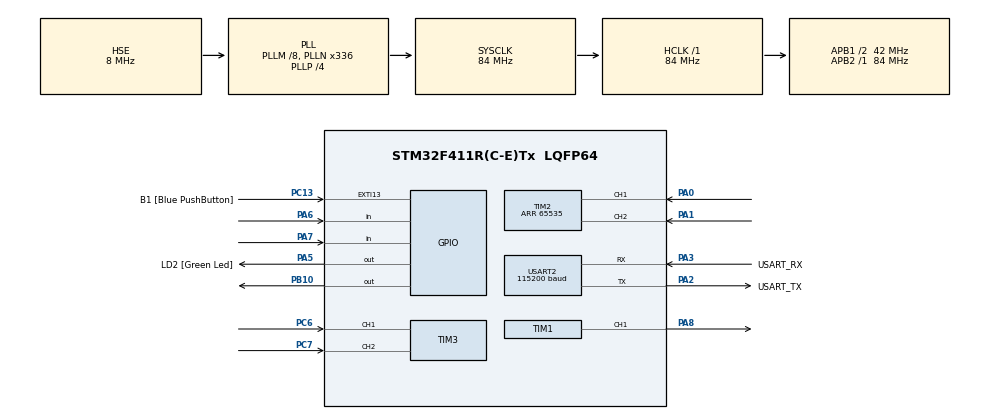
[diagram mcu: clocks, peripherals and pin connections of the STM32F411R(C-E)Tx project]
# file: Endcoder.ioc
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Dma.Request0=TIM1_CH1
Dma.TIM1_CH1.0.Direction=DMA_MEMORY_TO_PERIPH
Dma.TIM1_CH1.0.FIFOMode=DMA_FIFOMODE_DISABLE
Dma.TIM1_CH1.0.Instance=DMA2_Stream1
Dma.TIM1_CH1.0.MemDataAlignment=DMA_MDATAALIGN_HALFWORD
Dma.TIM1_CH1.0.MemInc=DMA_MINC_ENABLE
Dma.TIM1_CH1.0.Mode=DMA_NORMAL
Dma.TIM1_CH1.0.PeriphDataAlignment=DMA_PDATAALIGN_HALFWORD
Dma.TIM1_CH1.0.PeriphInc=DMA_PINC_DISABLE
Dma.TIM1_CH1.0.Priority=DMA_PRIORITY_LOW
Mcu.Family=STM32F4
Mcu.Name=STM32F411R(C-E)Tx
Mcu.Package=LQFP64
NVIC.DMA2_Stream1_IRQn=true\:0\:0\:false\:false\:true\:false\:true\:true
NVIC.PriorityGroup=NVIC_PRIORITYGROUP_0
NVIC.TIM2_IRQn=true\:0\:0\:false\:false\:true\:true\:true\:true
PA0-WKUP.GPIO_PuPd=GPIO_PULLUP
PA0-WKUP.Signal=S_TIM2_CH1_ETR
PA1.GPIO_PuPd=GPIO_PULLUP
PA1.Signal=S_TIM2_CH2
PA13.GPIO_Label=TMS
PA13.Mode=Serial_Wire
PA13.Signal=SYS_JTMS-SWDIO
PA14.GPIO_Label=TCK
PA14.Mode=Serial_Wire
PA14.Signal=SYS_JTCK-SWCLK
PA2.GPIO_Label=USART_TX
PA2.Mode=Asynchronous
PA2.Signal=USART2_TX
PA3.GPIO_Label=USART_RX
PA3.Mode=Asynchronous
PA3.Signal=USART2_RX
PA5.GPIO_Label=LD2 [Green Led]
PA5.Signal=GPIO_Output
PA6.GPIO_PuPd=GPIO_PULLUP
PA6.Signal=GPIO_Input
PA7.GPIO_PuPd=GPIO_PULLUP
PA7.Signal=GPIO_Input
PA8.Signal=S_TIM1_CH1
PB10.Signal=GPIO_Output
PB3.Signal=SYS_JTDO-SWO
PC13-ANTI_TAMP.GPIO_Label=B1 [Blue PushButton]
PC13-ANTI_TAMP.GPIO_ModeDefaultEXTI=GPIO_MODE_IT_FALLING
PC13-ANTI_TAMP.Signal=GPXTI13
PC14-OSC32_IN.Mode=LSE-External-Oscillator
PC14-OSC32_IN.Signal=RCC_OSC32_IN
PC15-OSC32_OUT.Mode=LSE-External-Oscillator
PC15-OSC32_OUT.Signal=RCC_OSC32_OUT
PC6.Signal=S_TIM3_CH1
PC7.Signal=S_TIM3_CH2
PH0\ -\ OSC_IN.Mode=HSE-External-Oscillator
PH0\ -\ OSC_IN.Signal=RCC_OSC_IN
PH1\ -\ OSC_OUT.Mode=HSE-External-Oscillator
PH1\ -\ OSC_OUT.Signal=RCC_OSC_OUT
ProjectManager.HeapSize=0x200
ProjectManager.StackSize=0x400
ProjectManager.TargetToolchain=STM32CubeIDE
RCC.48MHZClocksFreq_Value=84000000
RCC.AHBFreq_Value=84000000
RCC.APB1CLKDivider=RCC_HCLK_DIV2
RCC.APB1Freq_Value=42000000
RCC.APB1TimFreq_Value=84000000
RCC.APB2Freq_Value=84000000
RCC.APB2TimFreq_Value=84000000
RCC.CortexFreq_Value=84000000
RCC.FLatency-AdvancedSettings=FLASH_LATENCY_2
RCC.HCLKFreq_Value=84000000
RCC.HSE_VALUE=8000000
RCC.HSI_VALUE=16000000
RCC.PLLM=8
RCC.PLLN=336
RCC.PLLP=RCC_PLLP_DIV4
RCC.PLLSourceVirtual=RCC_PLLSOURCE_HSE
RCC.SYSCLKFreq_VALUE=84000000
RCC.SYSCLKSource=RCC_SYSCLKSOURCE_PLLCLK
RCC.VCOOutputFreq_Value=336000000
SH.S_TIM1_CH1.0=TIM1_CH1,PWM Generation1 CH1
SH.S_TIM2_CH1_ETR.0=TIM2_CH1,Encoder_Interface
SH.S_TIM2_CH2.0=TIM2_CH2,Encoder_Interface
SH.S_TIM3_CH1.0=TIM3_CH1,Encoder_Interface
SH.S_TIM3_CH2.0=TIM3_CH2,Encoder_Interface
TIM1.Channel-PWM\ Generation1\ CH1=TIM_CHANNEL_1
TIM1.Period=65535
TIM1.Prescaler=0
TIM2.EncoderMode=TIM_ENCODERMODE_TI12
TIM2.IC1Polarity=TIM_ICPOLARITY_FALLING
TIM2.IC2Polarity=TIM_ICPOLARITY_FALLING
TIM2.Period=65535
USART2.BaudRate=115200
USART2.VirtualMode=VM_ASYNC
VP_TIM1_VS_ClockSourceINT.Mode=Internal
board=NUCLEO-F411RE

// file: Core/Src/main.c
/* USER CODE BEGIN Header */
/**
  ******************************************************************************
  * @file           : main.c
  * @brief          : Main program body
  ******************************************************************************
  * @attention
  *
  * Copyright (c) 2023 STMicroelectronics.
  * All rights reserved.
  *
  * This software is licensed under terms that can be found in the LICENSE file
  * in the root directory of this software component.
  * If no LICENSE file comes with this software, it is provided AS-IS.
  *
  ******************************************************************************
  */
/* USER CODE END Header */
#include "main.h"

/* USER CODE BEGIN Includes */
#include "string.h"
#include "stdio.h"
#include "math.h"
/* USER CODE END Includes */

TIM_HandleTypeDef htim1;
TIM_HandleTypeDef htim2;
TIM_HandleTypeDef htim3;
DMA_HandleTypeDef hdma_tim1_ch1;

UART_HandleTypeDef huart2;

/* USER CODE BEGIN PV */

struct encoder
{
	int A_current;
	int A_last;
	int B_current;
	int B_last;
};

struct encoder AB;

uint16_t dt = 100;
uint16_t pos=0;

float target = 0;
int16_t e = 0;
int16_t e_prev = 0;
int16_t e_integral =0;
int16_t e_diff = 0;

int32_t PWM_raw = 0;
int32_t PWM = 0;
uint8_t dir = 0;

uint16_t Kp = 3000;
uint16_t Ki = 0;
uint16_t Kd = 0;

uint16_t timestamp = 0;

/* USER CODE END PV */

void SystemClock_Config(void);
static void MX_GPIO_Init(void);
static void MX_DMA_Init(void);
static void MX_USART2_UART_Init(void);
static void MX_TIM1_Init(void);
static void MX_TIM2_Init(void);
static void MX_TIM3_Init(void);
/* USER CODE BEGIN PFP */
void PID();
void Motor();
/* USER CODE END PFP */

/* USER CODE BEGIN 0 */

uint32_t counter = 0;
int16_t count = 0;

int16_t position = 0;

int speed = 0;
void HAL_TIM_IC_CaptureCallback(TIM_HandleTypeDef *htim)
{
	counter = __HAL_TIM_GET_COUNTER(htim);

	count = (int16_t)counter;

	position = count/4;
}

//uint16_t pwmData[10];
//uint32_t ICValue = 0;
//uint32_t Frequency = 0;
//float Duty = 0;

//void HAL_TIM_IC_CaptureCallback(TIM_HandleTypeDef *htim){
//	if (htim -> Channel == HAL_TIM_ACTIVE_CHANNEL_1)
//	{
//		ICValue = HAL_TIM_ReadCapturedValue(htim, TIM_CHANNEL_1);
//
//		if(ICValue != 0)
//		{
//			Duty =(HAL_TIM_ReadCapturedValue(htim, TIM_CHANNEL_2)*100)/ICValue;
//
//			Frequency = 90000000/ICValue;
//		}
//	}
//}

char TxBuffer[30];

/* USER CODE END 0 */

int main(void)
{

  /* MCU Configuration--------------------------------------------------------*/

  /* Reset of all peripherals, Initializes the Flash interface and the Systick. */
  HAL_Init();

  /* Configure the system clock */
  SystemClock_Config();

  /* Initialize all configured peripherals */
  MX_GPIO_Init();
  MX_DMA_Init();
  MX_USART2_UART_Init();
  MX_TIM1_Init();
  MX_TIM2_Init();
  MX_TIM3_Init();
  /* USER CODE BEGIN 2 */

  HAL_TIM_Encoder_Start_IT(&htim2, TIM_CHANNEL_ALL);

//  HAL_TIM_IC_Start_IT(&htim2, TIM_CHANNEL_1);
//  HAL_TIM_IC_Start(&htim2, TIM_CHANNEL_2);
//
//  HAL_TIM_PWM_Start(&htim1, TIM_CHANNEL_1);
//  TIM1 -> CCR1 = 225;

  TIM1 ->CCR1 = 0;
  HAL_TIM_PWM_Start(&htim1, TIM_CHANNEL_1);

  HAL_Delay(5000);
//
//  pwmData[0] = 10;
//  pwmData[1] = 20;
//  pwmData[2] = 30;
//  pwmData[3] = 40;
//  pwmData[4] = 50;
//  pwmData[5] = 60;
//  pwmData[6] = 70;
//  pwmData[7] = 80;
//  pwmData[8] = 90;
//  pwmData[9] = 100;
//
//  HAL_TIM_PWM_Start_DMA(&htim1, TIM_CHANNEL_1, (uint32_t *)pwmData, 10);
  /* USER CODE END 2 */

  /* Infinite loop */
  while (1)
  {

    /* USER CODE BEGIN 3 */
//	  htim1.Instance -> CCR1 = 10;
//	  HAL_Delay(1000);
//
//	  htim1.Instance -> CCR1 = 60;
//	  HAL_Delay(1000);

	  if(HAL_GetTick() > timestamp)
	  {
		  timestamp += 12.5;
		  target = 120*sin(0.3 * M_PI*	timestamp / 1000.0)+120;
	  }

//	  PID();
//	  Motor();

	  sprintf(TxBuffer,"%d\r %d\r %f\r\n",0, position, target);
	  HAL_UART_Transmit(&huart2, (uint8_t *) TxBuffer, 30, HAL_MAX_DELAY);

	  //Read phase A and B

//	  AB.A_current = HAL_GPIO_ReadPin(GPIOA, GPIO_PIN_6);
//	  AB.B_current = HAL_GPIO_ReadPin(GPIOA, GPIO_PIN_7);
//
//	  if (AB.A_current == 1 && AB.A_last ==0 )
//	  {
//		  if(AB.B_current == 1)
//		  {
//			  pos++;
//		  }
//		  else pos--;
//	  }
//	  AB.A_last = AB.A_current;

	  //Read phase A and B 2

//	  if (HAL_GPIO_ReadPin(GPIOA, GPIO_PIN_6) == GPIO_PIN_RESET)
//	  {
//		  if(HAL_GPIO_ReadPin(GPIOA, GPIO_PIN_7) == GPIO_PIN_RESET)
//		  {
//			  while (HAL_GPIO_ReadPin(GPIOA, GPIO_PIN_7) == GPIO_PIN_RESET){};
//			  pos++;
//			  while(HAL_GPIO_ReadPin(GPIOA, GPIO_PIN_6) == GPIO_PIN_RESET){};
//			  HAL_Delay(10);
//		  }
//
//		  if(HAL_GPIO_ReadPin(GPIOA, GPIO_PIN_7) == GPIO_PIN_SET)
//		  {
//			  while (HAL_GPIO_ReadPin(GPIOA, GPIO_PIN_7) == GPIO_PIN_SET){};
//			  pos--;
//			  while(HAL_GPIO_ReadPin(GPIOA, GPIO_PIN_6) == GPIO_PIN_RESET){};
//			  while(HAL_GPIO_ReadPin(GPIOA, GPIO_PIN_7) == GPIO_PIN_RESET){};
//			  HAL_Delay(10);
//		  }
//
//	  }

  }
  /* USER CODE END 3 */
}

void SystemClock_Config(void)
{
  RCC_OscInitTypeDef RCC_OscInitStruct = {0};
  RCC_ClkInitTypeDef RCC_ClkInitStruct = {0};

  /** Configure the main internal regulator output voltage
  */
  __HAL_RCC_PWR_CLK_ENABLE();
  __HAL_PWR_VOLTAGESCALING_CONFIG(PWR_REGULATOR_VOLTAGE_SCALE1);

  /** Initializes the RCC Oscillators according to the specified parameters
  * in the RCC_OscInitTypeDef structure.
  */
  RCC_OscInitStruct.OscillatorType = RCC_OSCILLATORTYPE_HSE;
  RCC_OscInitStruct.HSEState = RCC_HSE_ON;
  RCC_OscInitStruct.PLL.PLLState = RCC_PLL_ON;
  RCC_OscInitStruct.PLL.PLLSource = RCC_PLLSOURCE_HSE;
  RCC_OscInitStruct.PLL.PLLM = 8;
  RCC_OscInitStruct.PLL.PLLN = 336;
  RCC_OscInitStruct.PLL.PLLP = RCC_PLLP_DIV4;
  RCC_OscInitStruct.PLL.PLLQ = 4;
  if (HAL_RCC_OscConfig(&RCC_OscInitStruct) != HAL_OK)
  {
    Error_Handler();
  }

  /** Initializes the CPU, AHB and APB buses clocks
  */
  RCC_ClkInitStruct.ClockType = RCC_CLOCKTYPE_HCLK|RCC_CLOCKTYPE_SYSCLK
                              |RCC_CLOCKTYPE_PCLK1|RCC_CLOCKTYPE_PCLK2;
  RCC_ClkInitStruct.SYSCLKSource = RCC_SYSCLKSOURCE_PLLCLK;
  RCC_ClkInitStruct.AHBCLKDivider = RCC_SYSCLK_DIV1;
  RCC_ClkInitStruct.APB1CLKDivider = RCC_HCLK_DIV2;
  RCC_ClkInitStruct.APB2CLKDivider = RCC_HCLK_DIV1;

  if (HAL_RCC_ClockConfig(&RCC_ClkInitStruct, FLASH_LATENCY_2) != HAL_OK)
  {
    Error_Handler();
  }
}

static void MX_TIM1_Init(void)
{

  TIM_ClockConfigTypeDef sClockSourceConfig = {0};
  TIM_MasterConfigTypeDef sMasterConfig = {0};
  TIM_OC_InitTypeDef sConfigOC = {0};
  TIM_BreakDeadTimeConfigTypeDef sBreakDeadTimeConfig = {0};

  htim1.Instance = TIM1;
  htim1.Init.Prescaler = 0;
  htim1.Init.CounterMode = TIM_COUNTERMODE_UP;
  htim1.Init.Period = 65535;
  htim1.Init.ClockDivision = TIM_CLOCKDIVISION_DIV1;
  htim1.Init.RepetitionCounter = 0;
  htim1.Init.AutoReloadPreload = TIM_AUTORELOAD_PRELOAD_DISABLE;
  if (HAL_TIM_Base_Init(&htim1) != HAL_OK)
  {
    Error_Handler();
  }
  sClockSourceConfig.ClockSource = TIM_CLOCKSOURCE_INTERNAL;
  if (HAL_TIM_ConfigClockSource(&htim1, &sClockSourceConfig) != HAL_OK)
  {
    Error_Handler();
  }
  if (HAL_TIM_PWM_Init(&htim1) != HAL_OK)
  {
    Error_Handler();
  }
  sMasterConfig.MasterOutputTrigger = TIM_TRGO_RESET;
  sMasterConfig.MasterSlaveMode = TIM_MASTERSLAVEMODE_DISABLE;
  if (HAL_TIMEx_MasterConfigSynchronization(&htim1, &sMasterConfig) != HAL_OK)
  {
    Error_Handler();
  }
  sConfigOC.OCMode = TIM_OCMODE_PWM1;
  sConfigOC.Pulse = 0;
  sConfigOC.OCPolarity = TIM_OCPOLARITY_HIGH;
  sConfigOC.OCNPolarity = TIM_OCNPOLARITY_HIGH;
  sConfigOC.OCFastMode = TIM_OCFAST_DISABLE;
  sConfigOC.OCIdleState = TIM_OCIDLESTATE_RESET;
  sConfigOC.OCNIdleState = TIM_OCNIDLESTATE_RESET;
  if (HAL_TIM_PWM_ConfigChannel(&htim1, &sConfigOC, TIM_CHANNEL_1) != HAL_OK)
  {
    Error_Handler();
  }
  sBreakDeadTimeConfig.OffStateRunMode = TIM_OSSR_DISABLE;
  sBreakDeadTimeConfig.OffStateIDLEMode = TIM_OSSI_DISABLE;
  sBreakDeadTimeConfig.LockLevel = TIM_LOCKLEVEL_OFF;
  sBreakDeadTimeConfig.DeadTime = 0;
  sBreakDeadTimeConfig.BreakState = TIM_BREAK_DISABLE;
  sBreakDeadTimeConfig.BreakPolarity = TIM_BREAKPOLARITY_HIGH;
  sBreakDeadTimeConfig.AutomaticOutput = TIM_AUTOMATICOUTPUT_DISABLE;
  if (HAL_TIMEx_ConfigBreakDeadTime(&htim1, &sBreakDeadTimeConfig) != HAL_OK)
  {
    Error_Handler();
  }
  HAL_TIM_MspPostInit(&htim1);

}

static void MX_TIM2_Init(void)
{

  TIM_Encoder_InitTypeDef sConfig = {0};
  TIM_MasterConfigTypeDef sMasterConfig = {0};

  htim2.Instance = TIM2;
  htim2.Init.Prescaler = 0;
  htim2.Init.CounterMode = TIM_COUNTERMODE_UP;
  htim2.Init.Period = 65535;
  htim2.Init.ClockDivision = TIM_CLOCKDIVISION_DIV1;
  htim2.Init.AutoReloadPreload = TIM_AUTORELOAD_PRELOAD_DISABLE;
  sConfig.EncoderMode = TIM_ENCODERMODE_TI12;
  sConfig.IC1Polarity = TIM_ICPOLARITY_FALLING;
  sConfig.IC1Selection = TIM_ICSELECTION_DIRECTTI;
  sConfig.IC1Prescaler = TIM_ICPSC_DIV1;
  sConfig.IC1Filter = 0;
  sConfig.IC2Polarity = TIM_ICPOLARITY_FALLING;
  sConfig.IC2Selection = TIM_ICSELECTION_DIRECTTI;
  sConfig.IC2Prescaler = TIM_ICPSC_DIV1;
  sConfig.IC2Filter = 0;
  if (HAL_TIM_Encoder_Init(&htim2, &sConfig) != HAL_OK)
  {
    Error_Handler();
  }
  sMasterConfig.MasterOutputTrigger = TIM_TRGO_RESET;
  sMasterConfig.MasterSlaveMode = TIM_MASTERSLAVEMODE_DISABLE;
  if (HAL_TIMEx_MasterConfigSynchronization(&htim2, &sMasterConfig) != HAL_OK)
  {
    Error_Handler();
  }

}

static void MX_TIM3_Init(void)
{

  TIM_Encoder_InitTypeDef sConfig = {0};
  TIM_MasterConfigTypeDef sMasterConfig = {0};

  htim3.Instance = TIM3;
  htim3.Init.Prescaler = 0;
  htim3.Init.CounterMode = TIM_COUNTERMODE_UP;
  htim3.Init.Period = 65535;
  htim3.Init.ClockDivision = TIM_CLOCKDIVISION_DIV1;
  htim3.Init.AutoReloadPreload = TIM_AUTORELOAD_PRELOAD_DISABLE;
  sConfig.EncoderMode = TIM_ENCODERMODE_TI1;
  sConfig.IC1Polarity = TIM_ICPOLARITY_RISING;
  sConfig.IC1Selection = TIM_ICSELECTION_DIRECTTI;
  sConfig.IC1Prescaler = TIM_ICPSC_DIV1;
  sConfig.IC1Filter = 0;
  sConfig.IC2Polarity = TIM_ICPOLARITY_RISING;
  sConfig.IC2Selection = TIM_ICSELECTION_DIRECTTI;
  sConfig.IC2Prescaler = TIM_ICPSC_DIV1;
  sConfig.IC2Filter = 0;
  if (HAL_TIM_Encoder_Init(&htim3, &sConfig) != HAL_OK)
  {
    Error_Handler();
  }
  sMasterConfig.MasterOutputTrigger = TIM_TRGO_RESET;
  sMasterConfig.MasterSlaveMode = TIM_MASTERSLAVEMODE_DISABLE;
  if (HAL_TIMEx_MasterConfigSynchronization(&htim3, &sMasterConfig) != HAL_OK)
  {
    Error_Handler();
  }

}

static void MX_USART2_UART_Init(void)
{

  huart2.Instance = USART2;
  huart2.Init.BaudRate = 115200;
  huart2.Init.WordLength = UART_WORDLENGTH_8B;
  huart2.Init.StopBits = UART_STOPBITS_1;
  huart2.Init.Parity = UART_PARITY_NONE;
  huart2.Init.Mode = UART_MODE_TX_RX;
  huart2.Init.HwFlowCtl = UART_HWCONTROL_NONE;
  huart2.Init.OverSampling = UART_OVERSAMPLING_16;
  if (HAL_UART_Init(&huart2) != HAL_OK)
  {
    Error_Handler();
  }

}

static void MX_DMA_Init(void)
{

  /* DMA controller clock enable */
  __HAL_RCC_DMA2_CLK_ENABLE();

  /* DMA interrupt init */
  /* DMA2_Stream1_IRQn interrupt configuration */
  HAL_NVIC_SetPriority(DMA2_Stream1_IRQn, 0, 0);
  HAL_NVIC_EnableIRQ(DMA2_Stream1_IRQn);

}

static void MX_GPIO_Init(void)
{
  GPIO_InitTypeDef GPIO_InitStruct = {0};

  /* GPIO Ports Clock Enable */
  __HAL_RCC_GPIOC_CLK_ENABLE();
  __HAL_RCC_GPIOH_CLK_ENABLE();
  __HAL_RCC_GPIOA_CLK_ENABLE();
  __HAL_RCC_GPIOB_CLK_ENABLE();

  /*Configure GPIO pin Output Level */
  HAL_GPIO_WritePin(LD2_GPIO_Port, LD2_Pin, GPIO_PIN_RESET);

  /*Configure GPIO pin Output Level */
  HAL_GPIO_WritePin(GPIOB, GPIO_PIN_10, GPIO_PIN_RESET);

  /*Configure GPIO pin : B1_Pin */
  GPIO_InitStruct.Pin = B1_Pin;
  GPIO_InitStruct.Mode = GPIO_MODE_IT_FALLING;
  GPIO_InitStruct.Pull = GPIO_NOPULL;
  HAL_GPIO_Init(B1_GPIO_Port, &GPIO_InitStruct);

  /*Configure GPIO pin : LD2_Pin */
  GPIO_InitStruct.Pin = LD2_Pin;
  GPIO_InitStruct.Mode = GPIO_MODE_OUTPUT_PP;
  GPIO_InitStruct.Pull = GPIO_NOPULL;
  GPIO_InitStruct.Speed = GPIO_SPEED_FREQ_LOW;
  HAL_GPIO_Init(LD2_GPIO_Port, &GPIO_InitStruct);

  /*Configure GPIO pins : PA6 PA7 */
  GPIO_InitStruct.Pin = GPIO_PIN_6|GPIO_PIN_7;
  GPIO_InitStruct.Mode = GPIO_MODE_INPUT;
  GPIO_InitStruct.Pull = GPIO_PULLUP;
  HAL_GPIO_Init(GPIOA, &GPIO_InitStruct);

  /*Configure GPIO pin : PB10 */
  GPIO_InitStruct.Pin = GPIO_PIN_10;
  GPIO_InitStruct.Mode = GPIO_MODE_OUTPUT_PP;
  GPIO_InitStruct.Pull = GPIO_NOPULL;
  GPIO_InitStruct.Speed = GPIO_SPEED_FREQ_LOW;
  HAL_GPIO_Init(GPIOB, &GPIO_InitStruct);

}

/* USER CODE BEGIN 4 */
void PID()
{
	e = target - position;

	if(!(PWM >= 65535 && (((e > 0)&&(e_integral > 0)) || ((e < 0)&&(e_integral<0)))))
	{
		e_integral += e*dt;
	}

	e_diff = (e - e_prev)/dt;

	PWM_raw = Kp*e + Ki*e_integral + Kd*e_diff;

	if(PWM_raw > 65535) PWM_raw = 65535;
	else if(PWM_raw < -65535) PWM_raw = -65535;

	if( PWM_raw >= 0) dir = 1;
	else dir = 0;

	if(PWM_raw >0) PWM = PWM_raw;
	else PWM = -PWM_raw;
	e_prev = e;
}

void Motor()
{
	if (dir == 1) HAL_GPIO_WritePin(GPIOB, GPIO_PIN_10, GPIO_PIN_RESET);
	else HAL_GPIO_WritePin(GPIOB, GPIO_PIN_10, GPIO_PIN_SET);
	htim1.Instance -> CCR1 = PWM;

}
/* USER CODE END 4 */

void Error_Handler(void)
{
  __disable_irq();
  while (1)
  {
  }
}
